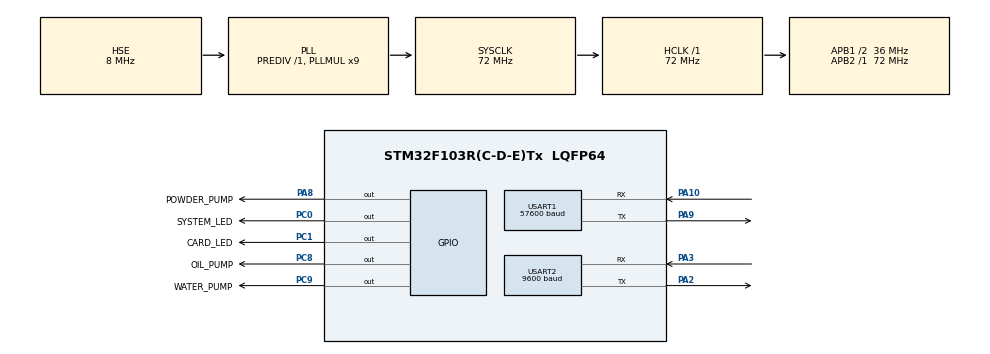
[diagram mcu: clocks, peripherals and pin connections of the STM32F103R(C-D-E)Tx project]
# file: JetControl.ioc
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Dma.Request0=USART2_RX
Dma.Request1=USART2_TX
Dma.USART2_RX.0.Direction=DMA_PERIPH_TO_MEMORY
Dma.USART2_RX.0.Instance=DMA1_Channel6
Dma.USART2_RX.0.MemDataAlignment=DMA_MDATAALIGN_BYTE
Dma.USART2_RX.0.MemInc=DMA_MINC_ENABLE
Dma.USART2_RX.0.Mode=DMA_NORMAL
Dma.USART2_RX.0.PeriphDataAlignment=DMA_PDATAALIGN_BYTE
Dma.USART2_RX.0.PeriphInc=DMA_PINC_DISABLE
Dma.USART2_RX.0.Priority=DMA_PRIORITY_LOW
Dma.USART2_TX.1.Direction=DMA_MEMORY_TO_PERIPH
Dma.USART2_TX.1.Instance=DMA1_Channel7
Dma.USART2_TX.1.MemDataAlignment=DMA_MDATAALIGN_BYTE
Dma.USART2_TX.1.MemInc=DMA_MINC_ENABLE
Dma.USART2_TX.1.Mode=DMA_NORMAL
Dma.USART2_TX.1.PeriphDataAlignment=DMA_PDATAALIGN_BYTE
Dma.USART2_TX.1.PeriphInc=DMA_PINC_DISABLE
Dma.USART2_TX.1.Priority=DMA_PRIORITY_LOW
Mcu.Family=STM32F1
Mcu.Name=STM32F103R(C-D-E)Tx
Mcu.Package=LQFP64
NVIC.DMA1_Channel6_IRQn=true\:0\:0\:false\:false\:true\:false\:true\:true
NVIC.DMA1_Channel7_IRQn=true\:0\:0\:false\:false\:true\:false\:true\:true
NVIC.PriorityGroup=NVIC_PRIORITYGROUP_4
NVIC.TIM2_IRQn=true\:1\:0\:true\:false\:true\:true\:true\:true
NVIC.USART1_IRQn=true\:0\:0\:false\:false\:true\:true\:true\:true
NVIC.USART2_IRQn=true\:0\:0\:false\:false\:true\:true\:true\:true
PA10.Mode=Asynchronous
PA10.Signal=USART1_RX
PA13.Mode=Serial_Wire
PA13.Signal=SYS_JTMS-SWDIO
PA14.Mode=Serial_Wire
PA14.Signal=SYS_JTCK-SWCLK
PA2.Mode=Asynchronous
PA2.Signal=USART2_TX
PA3.Mode=Asynchronous
PA3.Signal=USART2_RX
PA8.GPIO_Label=POWDER_PUMP
PA8.GPIO_PuPd=GPIO_PULLUP
PA8.PinState=GPIO_PIN_SET
PA8.Signal=GPIO_Output
PA9.Mode=Asynchronous
PA9.Signal=USART1_TX
PC0.GPIO_Label=SYSTEM_LED
PC0.GPIO_PuPd=GPIO_PULLUP
PC0.PinState=GPIO_PIN_RESET
PC0.Signal=GPIO_Output
PC1.GPIO_Label=CARD_LED
PC1.PinState=GPIO_PIN_RESET
PC1.Signal=GPIO_Output
PC8.GPIO_Label=OIL_PUMP
PC8.PinState=GPIO_PIN_SET
PC8.Signal=GPIO_Output
PC9.GPIO_Label=WATER_PUMP
PC9.GPIO_PuPd=GPIO_PULLUP
PC9.PinState=GPIO_PIN_SET
PC9.Signal=GPIO_Output
PD0-OSC_IN.Mode=HSE-External-Oscillator
PD0-OSC_IN.Signal=RCC_OSC_IN
PD1-OSC_OUT.Mode=HSE-External-Oscillator
PD1-OSC_OUT.Signal=RCC_OSC_OUT
ProjectManager.HeapSize=0x200
ProjectManager.StackSize=0x400
ProjectManager.TargetToolchain=MDK-ARM V5.32
RCC.AHBFreq_Value=72000000
RCC.APB1CLKDivider=RCC_HCLK_DIV2
RCC.APB1Freq_Value=36000000
RCC.APB1TimFreq_Value=72000000
RCC.APB2Freq_Value=72000000
RCC.APB2TimFreq_Value=72000000
RCC.HCLKFreq_Value=72000000
RCC.PLLMUL=RCC_PLL_MUL9
RCC.PLLSourceVirtual=RCC_PLLSOURCE_HSE
RCC.SYSCLKFreq_VALUE=72000000
RCC.SYSCLKSource=RCC_SYSCLKSOURCE_PLLCLK
RCC.USBFreq_Value=72000000
TIM2.AutoReloadPreload=TIM_AUTORELOAD_PRELOAD_ENABLE
TIM2.Period=1000-1
TIM2.Prescaler=72-1
USART1.BaudRate=57600
USART1.VirtualMode=VM_ASYNC
USART2.BaudRate=9600
USART2.StopBits=STOPBITS_2
USART2.VirtualMode=VM_ASYNC
VP_TIM2_VS_ClockSourceINT.Mode=Internal
board=custom

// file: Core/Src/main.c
/* USER CODE BEGIN Header */
/**
  ******************************************************************************
  * @file           : main.c
  * @brief          : Main program body
  ******************************************************************************
  * @attention
  *
  * Copyright (c) 2024 STMicroelectronics.
  * All rights reserved.
  *
  * This software is licensed under terms that can be found in the LICENSE file
  * in the root directory of this software component.
  * If no LICENSE file comes with this software, it is provided AS-IS.
  *
  ******************************************************************************
  */
/* USER CODE END Header */
#include "main.h"
#include "dma.h"
#include "tim.h"
#include "usart.h"
#include "gpio.h"

/* USER CODE BEGIN PV */
//应答：respond  接收：receive
volatile uint8_t Uart1_ReceiveData_flag = 0;                      //串口1接收数据标志
uint8_t USART1_REC_BUF[USART1_MAX_RECV_LEN];        //接收数据包缓冲区
uint8_t USART2_REC_BUF_Engine[USART1_MAX_RECV_LEN];                   //发动机数据包
volatile bool sendDataFlag;																	//是否回应数据标志位
volatile uint8_t	UART1_temp[1];              								//串口1当前接收字节
volatile uint16_t USART1_REC_STA=0;													//当前字节是连续的第几位
volatile uint8_t respondDeviceID,respondDeviceValue;					//回应数据的ID和Value
uint16_t RecCrc, CalcCrc;														//接收的CRC校验码和计算的CRC校验码
uint8_t ecuCalcCrc = 0;
volatile uint16_t CntRx1 = 0;																		//串口1接收时间标志位,15ms接收不到新数据，判定为1个包

//ecu
bool ecuValueSendFlag = false;
uint8_t ecuByte0,ecuByte1,ecuByte2;
uint8_t ecuID1_SW = 0;																											//默认不控制
uint8_t ecuThrottleControl = 0;
uint16_t lastEngineThrottleValue=0, nowEngineThrottleValue=0;					                //上一个发动机的值
volatile uint8_t Uart2_ReceiveData_flag = 0;                      //串口2接收数据标志
uint8_t USART2_Ecu_BUF[USART2_MAX_RECV_LEN];
volatile uint16_t CntRx2 = 0;																		//串口2接收时间标志位,15ms接收不到新数据，判定为1个包
volatile uint16_t USART2_REC_STA=0;													//当前字节是连续的第几位
volatile uint8_t	UART2_temp[1];              								//串口2当前接收字节
uint8_t USART2_Ecu_Oil_BUF[USART2_MAX_RECV_LEN];
volatile bool sendEcuDataFlag = false;
//ecu参数
uint8_t ecuParaByteSend[13]={0};
uint16_t engineRPM = 0;
uint8_t powerVoltage = 0;
uint16_t current = 0;
uint8_t pumpVoltage = 0;
uint16_t temp = 0;
uint8_t ECode = 0;
uint8_t engineState = 0;

//油泵
uint8_t oilByte0,oilByte1,oilByte2;
volatile bool sendOilPumpDataFlag = 0;
uint32_t OilPumpDataCount = 0;
uint8_t EcuOilValue=0, SerialOilValue=0;					                //ecu返回的油泵信息、串口要控制的油泵信息
uint8_t USART2_Oil_BUF[USART1_MAX_RECV_LEN];

const uint8_t crc_array[] = {
	0x00, 0x5e, 0xbc, 0xe2, 0x61, 0x3f, 0xdd, 0x83,
	0xc2, 0x9c, 0x7e, 0x20, 0xa3, 0xfd, 0x1f, 0x41,
	0x9d, 0xc3, 0x21, 0x7f, 0xfc, 0xa2, 0x40, 0x1e,
	0x5f, 0x01, 0xe3, 0xbd, 0x3e, 0x60, 0x82, 0xdc,
	0x23, 0x7d, 0x9f, 0xc1, 0x42, 0x1c, 0xfe, 0xa0,
	0xe1, 0xbf, 0x5d, 0x03, 0x80, 0xde, 0x3c, 0x62,
	0xbe, 0xe0, 0x02, 0x5c, 0xdf, 0x81, 0x63, 0x3d,
	0x7c, 0x22, 0xc0, 0x9e, 0x1d, 0x43, 0xa1, 0xff,
	0x46, 0x18, 0xfa, 0xa4, 0x27, 0x79, 0x9b, 0xc5,
	0x84, 0xda, 0x38, 0x66, 0xe5, 0xbb, 0x59, 0x07,
	0xdb, 0x85, 0x67, 0x39, 0xba, 0xe4, 0x06, 0x58,
	0x19, 0x47, 0xa5, 0xfb, 0x78, 0x26, 0xc4, 0x9a,
	0x65, 0x3b, 0xd9, 0x87, 0x04, 0x5a, 0xb8, 0xe6,
	0xa7, 0xf9, 0x1b, 0x45, 0xc6, 0x98, 0x7a, 0x24,
	0xf8, 0xa6, 0x44, 0x1a, 0x99, 0xc7, 0x25, 0x7b,
	0x3a, 0x64, 0x86, 0xd8, 0x5b, 0x05, 0xe7, 0xb9,
	0x8c, 0xd2, 0x30, 0x6e, 0xed, 0xb3, 0x51, 0x0f,
	0x4e, 0x10, 0xf2, 0xac, 0x2f, 0x71, 0x93, 0xcd,
	0x11, 0x4f, 0xad, 0xf3, 0x70, 0x2e, 0xcc, 0x92,
	0xd3, 0x8d, 0x6f, 0x31, 0xb2, 0xec, 0x0e, 0x50,
	0xaf, 0xf1, 0x13, 0x4d, 0xce, 0x90, 0x72, 0x2c,
	0x6d, 0x33, 0xd1, 0x8f, 0x0c, 0x52, 0xb0, 0xee,
	0x32, 0x6c, 0x8e, 0xd0, 0x53, 0x0d, 0xef, 0xb1,
	0xf0, 0xae, 0x4c, 0x12, 0x91, 0xcf, 0x2d, 0x73,
	0xca, 0x94, 0x76, 0x28, 0xab, 0xf5, 0x17, 0x49,
	0x08, 0x56, 0xb4, 0xea, 0x69, 0x37, 0xd5, 0x8b,
	0x57, 0x09, 0xeb, 0xb5, 0x36, 0x68, 0x8a, 0xd4,
	0x95, 0xcb, 0x29, 0x77, 0xf4, 0xaa, 0x48, 0x16,
	0xe9, 0xb7, 0x55, 0x0b, 0x88, 0xd6, 0x34, 0x6a,
	0x2b, 0x75, 0x97, 0xc9, 0x4a, 0x14, 0xf6, 0xa8,
	0x74, 0x2a, 0xc8, 0x96, 0x15, 0x4b, 0xa9, 0xf7,
	0xb6, 0xe8, 0x0a, 0x54, 0xd7, 0x89, 0x6b, 0x35,
};

extern UART_HandleTypeDef huart1;
extern UART_HandleTypeDef huart2;
extern TIM_HandleTypeDef htim2;
extern TIM_HandleTypeDef htim4;
extern TIM_HandleTypeDef htim8;

/* USER CODE END PV */

void SystemClock_Config(void);
/* USER CODE BEGIN PFP */
uint16_t crc16_calc( uint8_t *, uint8_t);														//CRC校验
uint8_t crc8_calc(uint8_t *data, uint8_t len);
uint8_t ecu_crc8(uint8_t *puchMsg,uint8_t crc_len, uint8_t seed);
uint8_t crc8_ecu(uint8_t *puchMsg,uint8_t crc_len, uint8_t seed);
void get_rec_data(void);																								//解包函数
void get_ecu_rec_data();
void Water_Pump_change(uint8_t Value);
void Powder_Pump_change(uint8_t Value);
void Pump_reset();
void oil_data_send(uint8_t param);
extern void delay_us(uint16_t);
void TIM_SetCompare3(TIM_TypeDef* TIMx, uint16_t Compare3);
/* USER CODE END PFP */

/* USER CODE BEGIN 0 */
//装载发送数据
void response_data_send(uint8_t deviceID,uint8_t deviceValue)
{
	#if FUNCTION_TEXT
	printf("****************BEGIN LINE********************\r\n");

	printf("打印：\n");
	printf("收到的数据为：%x\n",*USART1_REC_BUF);

	printf("****************END LINE**********************\r\n");

	#else
	uint8_t data_send[7] = {0};								//串口发送数据
	data_send[0] = 0x0C;
	data_send[1] = deviceID;
	data_send[2] = deviceValue;
	data_send[3] = 0x00;
	data_send[4] = 0x00;
	uint16_t resCrc = crc16_calc(data_send, 5);
	data_send[5] = resCrc >> 8;
	data_send[6] = resCrc & 0xff;

	HAL_UART_Transmit(&huart1,data_send,7,1000);

	#endif

}
//装载发送数据
void oil_data_send(uint8_t param)
{
	uint8_t USART2_Ecu_Crc[2] = {0};
	USART2_Ecu_Crc[0] = 0x20;
	USART2_Ecu_Crc[1] = param;

	uint8_t data_send[5] = {0};								//串口发送数据
	data_send[0] = 0xFF;
	data_send[1] = 0x20;
	data_send[2] = param;
	uint8_t resCrc = crc8_ecu(USART2_Ecu_Crc,2,0);
	data_send[3] = resCrc;

	HAL_UART_Transmit(&huart2,data_send,4,1000);
}
//开机初始化
void Initialize_function(void)
{
	Uart1_ReceiveData_flag = 0;
	WATER_PUMP_OFF;
//	TIM_SetCompare3(TIM1,0);
	SYSTEM_LED_ON;
	POWDER_PUMP_OFF;
}

//解包函数
void get_rec_data(void)
{
	if (USART1_REC_BUF[0] == 0x0C)
	{
		//水泵和粉阀0A、发动机0B、复位0C
		//泵阀    functionID:0x0A  deviceId   水泵：2  粉阀：3
		//发动机  functionID:0x0B  deviceId    油泵：1 发动机紧急停车：0xA0  发动机停车：0xB0 发动机启动：0xC0 开启控制：0xD0
		//复位    functionID:0x0C  deviceId   复位：5
		//水泵通讯样例：
		//打开：0C 0A 02 01 D6 E3
		//关闭：0C 0A 02 00 16 22
		//泵阀	0x0A
		if(USART1_REC_BUF[1] == 0x0A)
		{
			RecCrc = ((uint16_t)USART1_REC_BUF[4] << 8) | USART1_REC_BUF[5];
			CalcCrc = crc16_calc(USART1_REC_BUF, 4);
			if(RecCrc != CalcCrc){
				respondDeviceID = 0x00;
				respondDeviceValue = USART1_REC_BUF[3];
				sendDataFlag = true;
				return;
			}
			//控制水泵
			if(USART1_REC_BUF[2] == 0x02)
				Water_Pump_change(USART1_REC_BUF[3]);
			//控制粉阀
			else if(USART1_REC_BUF[2] == 0x03)
				Powder_Pump_change(USART1_REC_BUF[3]);
			else{
				respondDeviceID = 0x00;
				respondDeviceValue = USART1_REC_BUF[3];
			}
			sendDataFlag = true;
		}
		//发动机  functionID:0x0B  deviceId    油泵：1 发动机紧急停车：0xA0  发动机停车：0xB0 发动机启动：0xC0 开启控制：0xD0
		//发动机  0x0B
		else if(USART1_REC_BUF[1] == 0x0B)
		{
			RecCrc = ((uint16_t)USART1_REC_BUF[4] << 8) | USART1_REC_BUF[5];
			CalcCrc = crc16_calc(USART1_REC_BUF, 4);
			if(RecCrc != CalcCrc){
				ecuID1_SW = 0x00;
				nowEngineThrottleValue = 0;
			}
			else
			{
				//油泵	0x01
				if(USART1_REC_BUF[2] == 0x01){
					sendOilPumpDataFlag = true;
//					OilPumpDataCount = 0;
				}
				//紧急停车	0xA0
				else if(USART1_REC_BUF[2] == 0xA0){
					ecuID1_SW = 0x01;
					nowEngineThrottleValue = 0;
				}
				//停车散热	0xB0
				else if(USART1_REC_BUF[2] == 0xB0){
					ecuID1_SW = 0x02;
					nowEngineThrottleValue = 0;
				}
				//启动	0xC0
				else if(USART1_REC_BUF[2] == 0xC0){
					ecuID1_SW = 0x03;
					nowEngineThrottleValue = (uint16_t)USART1_REC_BUF[3]*10;
				}
				//开启控制 0xC0
				else if(USART1_REC_BUF[2] == 0xD0){
					if(USART1_REC_BUF[3]==0)
						ecuThrottleControl = 0;
					else{
						ecuThrottleControl = 1;
						ecuID1_SW = 0x01;
					}
				}
				else{
					ecuID1_SW = 0x00;
					nowEngineThrottleValue = 0;
				}
			}
		}
		//复位	0x0C
		else if(USART1_REC_BUF[1] == 0x0C)
		{
			RecCrc = ((uint16_t)USART1_REC_BUF[4] << 8) | USART1_REC_BUF[5];
			CalcCrc = crc16_calc(USART1_REC_BUF, 4);
			if(RecCrc != CalcCrc){
				respondDeviceID = 0x00;
				respondDeviceValue = USART1_REC_BUF[3];
			}
			else
				Pump_reset();
			sendDataFlag = true;
		}
		else{
			respondDeviceID = 0x00;
			respondDeviceValue = USART1_REC_BUF[3];
		}
	}
	else{
		respondDeviceID = 0x00;
		respondDeviceValue = USART1_REC_BUF[3];
	}
}

//解包函数
void get_ecu_rec_data()
{
//	实例 1：0xF1 0x00 0x00 0x00 0x00 0x4C 0xA0
//	F1 00 00 00 00 4C A0
//	ID: 1
//	RPM: 0 引擎转速
//	Engine State: 0 引擎状态 (停机)
//	ECode: 0 错误代码
//	Temp: 26℃ 引擎排气温度（摄氏度）
//	SwSt: 0 主机(计算机、飞控)给 ECU 的控制状态(引擎停机)
//	-------------------------------------------------
//	实例 2：0xF6 0x00 0x00 0xA0 0x00 0x10 0xAB
//	F6 00 00 A0 00 10 AB
//	ID: 6
//	RPM: 0 引擎转速
//	Max RPM: 160000 引擎最大转速
//	Max Pump Voltage: 0.0V 已经学习的油泵最高电压
//	Protocol Version: 4 协议版本
//	SRate: 20Hz 当前数据更新速率
	uint8_t head,cmd_id;
	head = USART2_REC_BUF_Engine[0] & 0xF0;
	cmd_id = USART2_REC_BUF_Engine[0] & 0x0F;
	if(head == 0xF0)
	{
		ecuCalcCrc = crc8_ecu(USART2_REC_BUF_Engine,3,0x03);
		if(ecuCalcCrc != USART2_REC_BUF_Engine[6]){
			return;
		}
		else{
			if(cmd_id == 0x01)
			{
				engineRPM = (USART2_REC_BUF_Engine[2] << 8) + USART2_REC_BUF_Engine[1];
				engineState = USART2_REC_BUF_Engine[3] & 0x0F;
				temp = (((uint16_t)(USART2_REC_BUF_Engine[4] & 0x0E)) << 8) + (uint16_t)(USART2_REC_BUF_Engine[5]);

			}
			else if(cmd_id == 0x02)
			{
				engineRPM = (USART2_REC_BUF_Engine[2] << 8) + USART2_REC_BUF_Engine[1];
				powerVoltage = USART2_REC_BUF_Engine[4];
			}
			else if(cmd_id == 0x04)
			{
				engineRPM = (USART2_REC_BUF_Engine[2] << 8) + USART2_REC_BUF_Engine[1];
				current = ((USART2_REC_BUF_Engine[4] & 0x01) << 8) + USART2_REC_BUF_Engine[3];
			}
			else{
				engineRPM = (USART2_REC_BUF_Engine[2] << 8) + USART2_REC_BUF_Engine[1];
			}
		}
	}
}
//控制水泵
void Water_Pump_change(uint8_t Value)
{
	//deviceID:  5：复位   1：油泵   2：水泵   3：粉阀
	if(Value==1){
		WATER_PUMP_ON;
	}
	else if(Value==0){
		WATER_PUMP_OFF;
	}
	else{
		respondDeviceID = 0x00;
		respondDeviceValue = Value;
		return;
	}
	respondDeviceID = 0x02;
	respondDeviceValue = Value;
}
//控制粉阀
void Powder_Pump_change(uint8_t Value)
{
	//deviceID:  5：复位   1：油泵   2：水泵   3：粉阀
	if(Value==1){
		POWDER_PUMP_ON;
	}
	else if(Value==0){
		POWDER_PUMP_OFF;
	}
	else{
		respondDeviceID = 0x00;
		respondDeviceValue = Value;
		return;
	}
	respondDeviceID = 0x03;
	respondDeviceValue = Value;
}
//复位控制
void Pump_reset()
{
	WATER_PUMP_OFF;
	POWDER_PUMP_OFF;
	respondDeviceID = 0x05;
	respondDeviceValue = 1;
}
//16位CRC校验
uint16_t crc16_calc(uint8_t *crc_buf , uint8_t crc_leni)
{
	unsigned char i, j;
	unsigned int crc_sumx;

	crc_sumx = 0xFFFF;

	for (i = 0; i < crc_leni; i++)
	{
		crc_sumx ^= *(crc_buf + i);
		for (j = 0; j < 8; j++) {
			if (crc_sumx & 0x01) {
				crc_sumx >>= 1;
				crc_sumx ^= 0xA001;
			} else {
				crc_sumx >>= 1;
			}
		}
	}
	return crc_sumx;
}
//8位CRC校验
uint8_t crc8_calc(uint8_t *data, uint8_t len){
    uint8_t crc8 = 0x00;
    for (uint8_t byte=0; byte<len;byte++) {
        crc8 ^= data[byte];
        for (int i = 0; i < 8; ++i) {
            if (crc8 & 0x80) {
                crc8 = (uint8_t)((crc8 << 1) ^ 0x31);
            } else {
                crc8 <<= 1;
            }
        }
    }
    return crc8;
}
uint8_t crc8_ecu(uint8_t *puchMsg,uint8_t crc_len, uint8_t seed)
{
	uint8_t i,k,crc8 = seed;
	for(i = 0; i < crc_len; i++)
	{
		k = puchMsg[i] ^ crc8;
		crc8 = 0;
		if (k & 0x01) crc8 ^= 0x5e;
		if (k & 0x02) crc8 ^= 0xbc;
		if (k & 0x04) crc8 ^= 0x61;
		if (k & 0x08) crc8 ^= 0xc2;
		if (k & 0x10) crc8 ^= 0x9d;
		if (k & 0x20) crc8 ^= 0x23;
		if (k & 0x40) crc8 ^= 0x46;
		if (k & 0x80) crc8 ^= 0x8c;
	}
	k = 0;
	return crc8;
}
uint8_t ecu_crc8(uint8_t *puchMsg,uint8_t crc_len, uint8_t seed)
{
	uint8_t i,ecuCrc8 = seed;
	for(i = 0 ; i < crc_len; i++)
	{
		ecuCrc8 = crc_array[ecuCrc8^puchMsg[i]];
	}
	return ecuCrc8;
}
//串口2空闲中断
void HAL_UARTEx_RxEventCallback(UART_HandleTypeDef *huart, uint16_t Size)
{
	if(huart->Instance == USART2)
	{
//		uint32_t tmp_flag ;
//		tmp_flag  = __HAL_UART_GET_FLAG(&huart2, UART_FLAG_IDLE);

//		if( tmp_flag  != RESET)
//		{
		__HAL_UART_CLEAR_IDLEFLAG(&huart2);//清除标志位
		HAL_UART_DMAStop(&huart2); //停止DMA接收，防止数据出错
		//单片机解包方式
//		get_ecu_rec_data();
//		ecuParaByteSend[0] = 0x1F;
//		ecuParaByteSend[1] = engineRPM & 0xFF;
//		ecuParaByteSend[2] = engineRPM >> 8;
//		ecuParaByteSend[3] = powerVoltage;
//		ecuParaByteSend[4] = current & 0xFF;
//		ecuParaByteSend[5] = current >> 8;
//		ecuParaByteSend[6] = pumpVoltage;
//		ecuParaByteSend[7] = temp & 0xFF;
//		ecuParaByteSend[8] = temp >> 8;
//		ecuParaByteSend[9] = ECode;
//		ecuParaByteSend[10] = engineState;
//		uint16_t resCrc = crc16_calc(ecuParaByteSend, 11);
//		ecuParaByteSend[11] = resCrc >> 8;
//		ecuParaByteSend[12] = resCrc & 0xff;
//		HAL_UART_Transmit(&huart1,ecuParaByteSend,13,1000);
//		USART2_REC_STA = 0;
//		if(Uart2_ReceiveData_flag)
//			Uart2_ReceiveData_flag = 0;
		//单片机转发方式
		//改为标志位置1
		ecuValueSendFlag = true;
//		}
		HAL_UARTEx_ReceiveToIdle_DMA(&huart2,USART2_REC_BUF_Engine,USART1_MAX_RECV_LEN);		// 再次开启DMA空闲中断
	}
}

/**************************************多任务调度*******************************************/
//回答上位机请求任务
void Task_USART1_Respond(void)
{
	if(Uart1_ReceiveData_flag){
		__disable_irq(); // 进入临界区

		get_rec_data();

		//泵阀
		if(sendDataFlag == true){
			response_data_send(respondDeviceID,respondDeviceValue);
			sendDataFlag = false;
		}

		memset(USART1_REC_BUF, 0, sizeof (USART1_REC_BUF));

		USART1_REC_STA = 0;
		Uart1_ReceiveData_flag = 0;
		__enable_irq();; // 退出临界区

	}

}
//发动机油泵控制任务
void Task_OilPump_Control(void)
{
	//油泵
	if(sendOilPumpDataFlag == true){
		oil_data_send(0x0C);
		sendOilPumpDataFlag = false;
//		if(OilPumpDataCount <= 1300){
//			//串口2发送油泵数据
//			oil_data_send(0x0C);
//		}
//		else{
//			sendOilPumpDataFlag = false;
//			OilPumpDataCount = 0;
//			oil_data_send(0x0D);
//		}
	}

}
//发动机油门控制任务
void Task_Engine_Throttle_Control(void)
{
	__disable_irq(); // 进入临界区
	if(ecuThrottleControl == 0){
		ecuID1_SW = 0;
		nowEngineThrottleValue = 0;
	}
	uint8_t USART2_Ecu_Crc[2] = {0};
	ecuByte0 = 0xFF;
	ecuByte1 = (1<<4)+(ecuID1_SW<<2)+(((uint8_t)(nowEngineThrottleValue>>8))&0x0F);
	ecuByte2 = nowEngineThrottleValue & 0xFF;
	USART2_Ecu_Crc[0] = ecuByte1;
	USART2_Ecu_Crc[1] = ecuByte2;

	USART2_Ecu_BUF[0] = ecuByte0;
	USART2_Ecu_BUF[1] = ecuByte1;
	USART2_Ecu_BUF[2] = ecuByte2;
	USART2_Ecu_BUF[3] = crc8_ecu(USART2_Ecu_Crc,2,0);
	lastEngineThrottleValue = nowEngineThrottleValue;
	HAL_UART_Transmit_DMA(&huart2,USART2_Ecu_BUF,4);
	__enable_irq();; // 退出临界区
}
//串口1向上位机定时发送ECU参数数据任务
void Task_ECU_getvalue_Send(void)
{
	if(ecuValueSendFlag)
	{
		HAL_UART_Transmit(&huart1,USART2_REC_BUF_Engine,7,1000);
		memset(USART2_REC_BUF_Engine, 0, sizeof (USART2_REC_BUF_Engine));
		ecuValueSendFlag = false;
	}
}

//全部任务列表
static TASK_COMPONENTS TaskComps[] =
{
	{0, 10, 10, Task_USART1_Respond},																//串口1接收数据并处理
	{0, 20, 20, Task_OilPump_Control},															//发动机油泵控制任务
	{0, 20, 20, Task_Engine_Throttle_Control},											//串口2向发动机定时发送油门数据
	{0, 10, 10, Task_ECU_getvalue_Send}															//串口1向上位机定时发送ECU参数数据
   // 这里添加你的任务。。。
};
/**************************************************************************************
* FunctionName   : TaskRemarks()
* Description    : 任务标志处理，这个函数要放在定时器里
* EntryParameter : None
* ReturnValue    : None
**************************************************************************************/
void TaskRemarks(void)
{
    uint8_t i;
    for (i=0; i<TASKS_MAX; i++)          // 逐个任务时间处理
    {
         if (TaskComps[i].Timer)          // 时间不为0
        {
            TaskComps[i].Timer--;         // 减去一个节拍
            if (TaskComps[i].Timer == 0)       // 时间减完了
            {
                 TaskComps[i].Timer = TaskComps[i].ItvTime;       // 恢复计时器值，从新下一次
                 TaskComps[i].Run = 1;           // 任务可以运行
            }
        }
    }
}
/**************************************************************************************
* FunctionName   : TaskProcess()
* Description    : 任务处理，放到main函数里去执行的。
* EntryParameter : None
* ReturnValue    : None
**************************************************************************************/
void TaskProcess(void)
{
    uint8_t i;
    for (i=0; i<TASKS_MAX; i++)               // 逐个任务时间处理
    {
         if (TaskComps[i].Run)                // 时间不为0
        {
             TaskComps[i].TaskHook();         // 运行任务
             TaskComps[i].Run = 0;            // 标志清0
        }
    }
}
/* USER CODE END 0 */

int main(void)
{

  /* MCU Configuration--------------------------------------------------------*/

  /* Reset of all peripherals, Initializes the Flash interface and the Systick. */
  HAL_Init();

  /* Configure the system clock */
  SystemClock_Config();

  /* Initialize all configured peripherals */
  MX_GPIO_Init();
  MX_DMA_Init();
  MX_TIM2_Init();
  MX_USART1_UART_Init();
  MX_USART2_UART_Init();
  /* USER CODE BEGIN 2 */
	//系统初始化
	Initialize_function();

	//启动串口接收
	HAL_UART_Receive_IT(&huart1, (uint8_t *)UART1_temp, 1);
//	HAL_UART_Receive_IT(&huart2, (uint8_t *)UART2_temp, 1);
//	__HAL_UART_ENABLE_IT(&huart2, UART_IT_IDLE); //使能IDLE中断
	HAL_UARTEx_ReceiveToIdle_DMA(&huart2,USART2_REC_BUF_Engine,USART1_MAX_RECV_LEN);		// 再次开启DMA空闲中断
	//开启定时器中断----->1ms
	__HAL_TIM_CLEAR_IT(&htim2, TIM_IT_UPDATE);
	HAL_TIM_Base_Start_IT(&htim2);
	HAL_DBGMCU_EnableDBGStopMode();
	//开启PWM
//	HAL_TIM_PWM_Start(&htim1,TIM_CHANNEL_1);

  /* USER CODE END 2 */

  /* Infinite loop */
  while (1)
  {

    /* USER CODE BEGIN 3 */
//		__HAL_TIM_SET_COMPARE(&htim1, TIM_CHANNEL_1, 50);
		TaskProcess();

  }
  /* USER CODE END 3 */
}

void SystemClock_Config(void)
{
  RCC_OscInitTypeDef RCC_OscInitStruct = {0};
  RCC_ClkInitTypeDef RCC_ClkInitStruct = {0};

  /** Initializes the RCC Oscillators according to the specified parameters
  * in the RCC_OscInitTypeDef structure.
  */
  RCC_OscInitStruct.OscillatorType = RCC_OSCILLATORTYPE_HSE;
  RCC_OscInitStruct.HSEState = RCC_HSE_ON;
  RCC_OscInitStruct.HSEPredivValue = RCC_HSE_PREDIV_DIV1;
  RCC_OscInitStruct.HSIState = RCC_HSI_ON;
  RCC_OscInitStruct.PLL.PLLState = RCC_PLL_ON;
  RCC_OscInitStruct.PLL.PLLSource = RCC_PLLSOURCE_HSE;
  RCC_OscInitStruct.PLL.PLLMUL = RCC_PLL_MUL9;
  if (HAL_RCC_OscConfig(&RCC_OscInitStruct) != HAL_OK)
  {
    Error_Handler();
  }

  /** Initializes the CPU, AHB and APB buses clocks
  */
  RCC_ClkInitStruct.ClockType = RCC_CLOCKTYPE_HCLK|RCC_CLOCKTYPE_SYSCLK
                              |RCC_CLOCKTYPE_PCLK1|RCC_CLOCKTYPE_PCLK2;
  RCC_ClkInitStruct.SYSCLKSource = RCC_SYSCLKSOURCE_PLLCLK;
  RCC_ClkInitStruct.AHBCLKDivider = RCC_SYSCLK_DIV1;
  RCC_ClkInitStruct.APB1CLKDivider = RCC_HCLK_DIV2;
  RCC_ClkInitStruct.APB2CLKDivider = RCC_HCLK_DIV1;

  if (HAL_RCC_ClockConfig(&RCC_ClkInitStruct, FLASH_LATENCY_2) != HAL_OK)
  {
    Error_Handler();
  }
}

void Error_Handler(void)
{
  __disable_irq();
  while (1)
  {
  }
}
